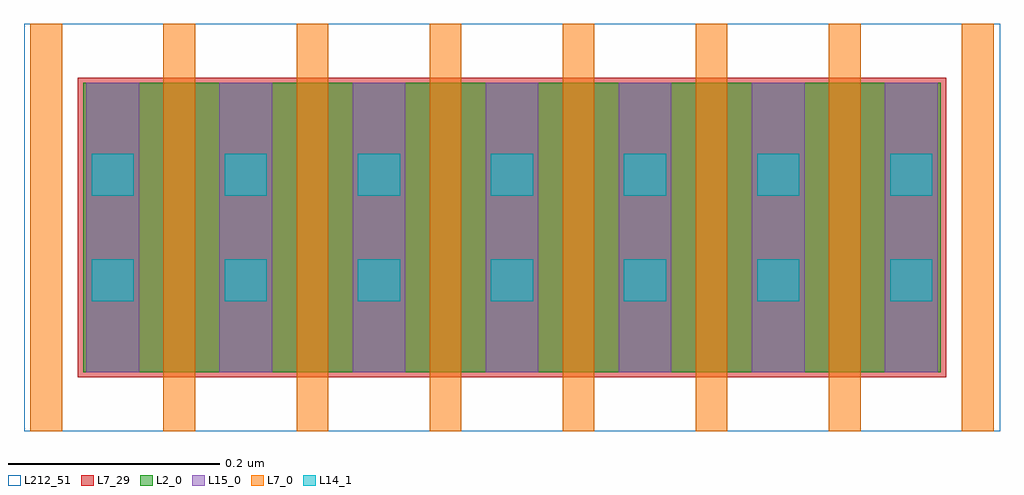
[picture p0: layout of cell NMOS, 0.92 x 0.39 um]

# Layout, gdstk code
import gdstk
lib = gdstk.Library(unit=1e-6, precision=1e-09)
def R(c, l, rs):  # rectangles x0, y0, x1, y1
    for r in rs: c.add(gdstk.rectangle(r[:2], r[2:], *l))
def A(c, l, x, y, w, h, nx, ny, dx, dy):  # array of equal rectangles
    R(c, l, [(x+i*dx, y+j*dy, x+i*dx+w, y+j*dy+h) for i in range(nx) for j in range(ny)])
L2_0 = (2, 0)
L7_0 = (7, 0)
L7_29 = (7, 29)
L14_1 = (14, 1)
L15_0 = (15, 0)
L212_51 = (212, 51)

nmos = lib.new_cell('NMOS')
R(nmos, L2_0, [(-0.406,-0.137,0.406,0.137)])
A(nmos, L7_0, -0.456, -0.193, 0.03, 0.386, 8, 1, 0.126, 0)
R(nmos, L7_29, [(-0.411,-0.142,0.411,0.142)])
A(nmos, L14_1, -0.398, -0.07, 0.04, 0.04, 7, 2, 0.126, 0.1)
A(nmos, L15_0, -0.403, -0.137, 0.05, 0.274, 7, 1, 0.126, 0)
R(nmos, L212_51, [(-0.462,-0.193,0.462,0.193)])

lib.write_gds('NMOS.gds')
